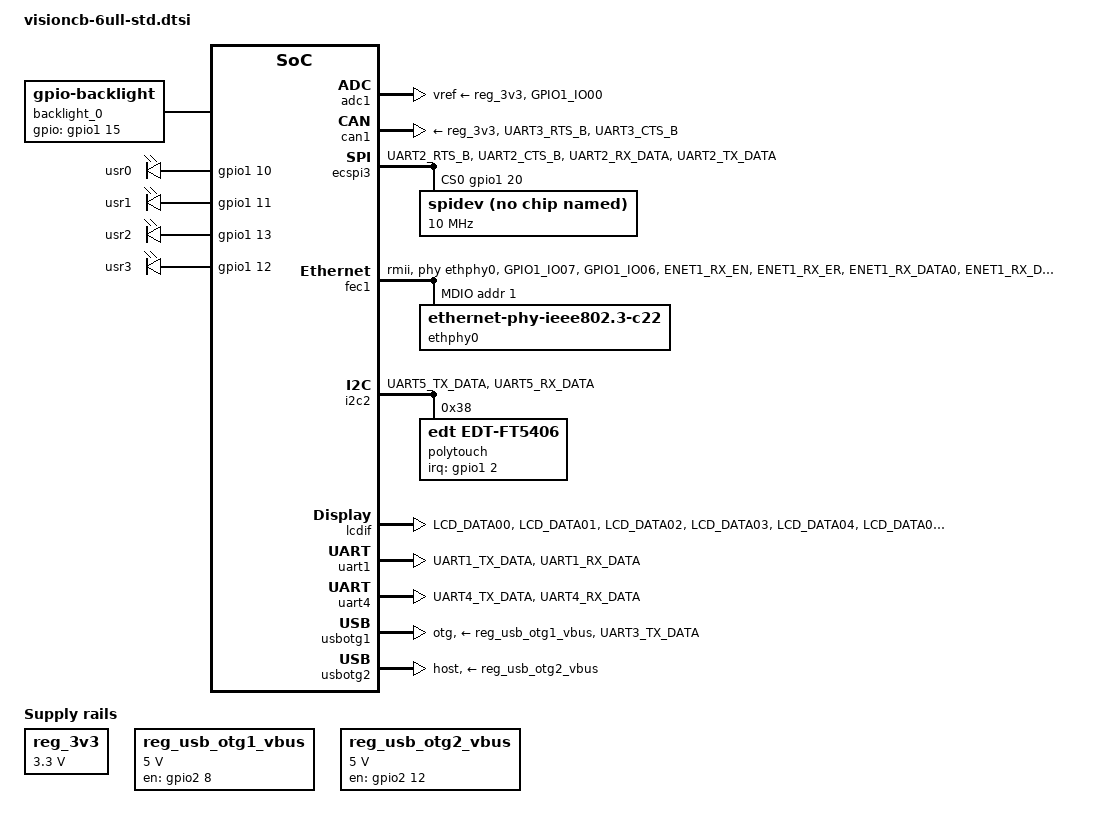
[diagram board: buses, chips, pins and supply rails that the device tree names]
/*
 * Copyright (C) 2020 SoMLabs
 *
 * This program is free software; you can redistribute it and/or modify
 * it under the terms of the GNU General Public License version 2 as
 * published by the Free Software Foundation.
 */


/ {
        backlight_0: backlight {
                compatible = "gpio-backlight";
                gpios = <&gpio1 15 GPIO_ACTIVE_HIGH>;
        };

        chosen {
                stdout-path = &uart1;
        };

        leds {
                compatible = "gpio-leds";

                usr0 {
                        label = "usr0";
                        gpios = <&gpio1 10 GPIO_ACTIVE_HIGH>;
                        linux,default-trigger = "heartbeat";
                };

                usr1 {
                        label = "usr1";
                        gpios = <&gpio1 11 GPIO_ACTIVE_HIGH>;
                        linux,default-trigger = "mmc0";
                };

                usr2 {
                        label = "usr2";
                        gpios = <&gpio1 13 GPIO_ACTIVE_HIGH>;
                        linux,default-trigger = "mmc1";
                };

                usr3 {
                        label = "usr3";
                        gpios = <&gpio1 12 GPIO_ACTIVE_HIGH>;
                };
        };

        regulators {
                reg_3v3: regulator@3 {
                        compatible = "regulator-fixed";
                        regulator-name = "3v3";
                        regulator-min-microvolt = <3300000>;
                        regulator-max-microvolt = <3300000>;
                };

                reg_usb_otg1_vbus: regulator@1 {
                        compatible = "regulator-fixed";
                        reg = <2>;
                        pinctrl-names = "default";
                        pinctrl-0 = <&pinctrl_usb_otg1>;
                        regulator-name = "usb_otg1_vbus";
                        regulator-min-microvolt = <5000000>;
                        regulator-max-microvolt = <5000000>;
                        gpio = <&gpio2 8 GPIO_ACTIVE_HIGH>;
                        enable-active-high;
                };

                reg_usb_otg2_vbus: regulator@2 {
                        compatible = "regulator-fixed";
                        reg = <3>;
                        pinctrl-names = "default";
                        pinctrl-0 = <&pinctrl_usb_otg2>;
                        regulator-name = "usb_otg2_vbus";
                        regulator-min-microvolt = <5000000>;
                        regulator-max-microvolt = <5000000>;
                        gpio = <&gpio2 12 GPIO_ACTIVE_HIGH>;
                        enable-active-high;
                };
        };
};

&adc1 {
        pinctrl-names = "default";
        pinctrl-0 = <&pinctrl_adc1>;
        vref-supply = <&reg_3v3>;
        status = "okay";
};

&can1 {
        pinctrl-names = "default";
        pinctrl-0 = <&pinctrl_flexcan1>;
        xceiver-supply = <&reg_3v3>;
        status = "okay";
};

&ecspi3 {
        fsl,spi-num-chipselects = <1>;
        cs-gpios = <&gpio1 20 0>;
        pinctrl-names = "default";
        pinctrl-0 = <&pinctrl_ecspi3>;
        status = "okay";

        spidev@0 {
                compatible = "spidev";
                spi-max-frequency = <10000000>;
                reg = <0>;
        };
};

&fec1 {
        pinctrl-names = "default";
        pinctrl-0 = <&pinctrl_enet1>;
        phy-mode = "rmii";
        phy-handle = <&ethphy0>;
        status = "okay";

        mdio {
                #address-cells = <1>;
                #size-cells = <0>;

                ethphy0: ethernet-phy@1 {
                        compatible = "ethernet-phy-ieee802.3-c22";
                        reg = <1>;
                        clocks = <&clks IMX6UL_CLK_ENET_REF>;
                        clock-names = "rmii-ref";
                };
        };
};

&i2c2 {
        clock_frequency = <100000>;
        pinctrl-names = "default";
        pinctrl-0 = <&pinctrl_i2c2>;
        status = "okay";

        polytouch: edt-ft5406@38 {
                        status = "okay";
                        compatible = "edt,edt-ft5406", "edt,edt-ft5x06";
                        pinctrl-names = "default";
                        pinctrl-0 = <&pinctrl_edt_ft5406_ts>;

                        reg = <0x38>;
                        interrupt-parent = <&gpio1>;
                        interrupts = <2 IRQ_TYPE_EDGE_FALLING>;
                        touchscreen-size-x = <800>;
                        touchscreen-size-y = <480>;
                        touchscreen-inverted-x;
                        touchscreen-inverted-y;
        };
};

&iomuxc {
        pinctrl-0 = <&pinctrl_hog_1>;
        visioncb-6ull {
                pinctrl_adc1: adc1grp {
                        fsl,pins = <
                                MX6UL_PAD_GPIO1_IO00__GPIO1_IO00        0xb0
                        >;
                };

                pinctrl_ecspi3: ecspi3grp {
                        fsl,pins = <
                                MX6UL_PAD_UART2_RTS_B__ECSPI3_MISO      0x1b0b1
                                MX6UL_PAD_UART2_CTS_B__ECSPI3_MOSI      0x1b0b1
                                MX6UL_PAD_UART2_RX_DATA__ECSPI3_SCLK    0x1b0b1
                                MX6UL_PAD_UART2_TX_DATA__GPIO1_IO20     0x1b0b0
                        >;
                };

                pinctrl_edt_ft5406_ts: edtft5406tsgrp {
                        fsl,pins = <
                                MX6UL_PAD_GPIO1_IO02__GPIO1_IO02        0x1b0b0
                        >;
                };

                pinctrl_enet1: enet1grp {
                        fsl,pins = <
                                MX6UL_PAD_GPIO1_IO07__ENET1_MDC         0x1b0b0
                                MX6UL_PAD_GPIO1_IO06__ENET1_MDIO        0x1F829

                                MX6UL_PAD_ENET1_RX_EN__ENET1_RX_EN      0x1b0b0
                                MX6UL_PAD_ENET1_RX_ER__ENET1_RX_ER      0x1b0b0
                                MX6UL_PAD_ENET1_RX_DATA0__ENET1_RDATA00 0x1b0b0
                                MX6UL_PAD_ENET1_RX_DATA1__ENET1_RDATA01 0x1b0b0
                                MX6UL_PAD_ENET1_TX_EN__ENET1_TX_EN      0x1b0b0
                                MX6UL_PAD_ENET1_TX_DATA0__ENET1_TDATA00 0x1b0b0
                                MX6UL_PAD_ENET1_TX_DATA1__ENET1_TDATA01 0x1b0b0
                                MX6UL_PAD_ENET1_TX_CLK__ENET1_REF_CLK1  0x400010a9
                        >;
                };

                pinctrl_flexcan1: flexcan1grp{
                        fsl,pins = <
                                MX6UL_PAD_UART3_RTS_B__FLEXCAN1_RX      0x1b020
                                MX6UL_PAD_UART3_CTS_B__FLEXCAN1_TX      0x1b020
                        >;
                };

                pinctrl_hog_1: hoggrp-1 {
                        fsl,pins = <
                                MX6UL_PAD_JTAG_MOD__GPIO1_IO10 0x17099 /* LED 0 */
                                MX6UL_PAD_JTAG_TMS__GPIO1_IO11 0x17099 /* LED 1 */
                                MX6UL_PAD_JTAG_TDI__GPIO1_IO13 0x17099 /* LED 2 */
                                MX6UL_PAD_JTAG_TDO__GPIO1_IO12 0x17099 /* LED 3 */
                        >;
                };

                pinctrl_i2c2: i2c2grp {
                        fsl,pins = <
                                MX6UL_PAD_UART5_TX_DATA__I2C2_SCL 0x4001b8b0
                                MX6UL_PAD_UART5_RX_DATA__I2C2_SDA 0x4001b8b0
                        >;
                };

                pinctrl_lcdif_ctrl: lcdifctrlgrp {
                        fsl,pins = <
                                MX6UL_PAD_LCD_CLK__LCDIF_CLK        0x79
                                MX6UL_PAD_LCD_ENABLE__LCDIF_ENABLE  0x79
                                MX6UL_PAD_LCD_HSYNC__LCDIF_HSYNC    0x79
                                MX6UL_PAD_LCD_VSYNC__LCDIF_VSYNC    0x79
                                MX6UL_PAD_LCD_RESET__GPIO3_IO04     0xB079
                        >;
                };

                pinctrl_lcdif_dat: lcdifdatgrp {
                        fsl,pins = <
                                MX6UL_PAD_LCD_DATA00__LCDIF_DATA00  0x79
                                MX6UL_PAD_LCD_DATA01__LCDIF_DATA01  0x79
                                MX6UL_PAD_LCD_DATA02__LCDIF_DATA02  0x79
                                MX6UL_PAD_LCD_DATA03__LCDIF_DATA03  0x79
                                MX6UL_PAD_LCD_DATA04__LCDIF_DATA04  0x79
                                MX6UL_PAD_LCD_DATA05__LCDIF_DATA05  0x79
                                MX6UL_PAD_LCD_DATA06__LCDIF_DATA06  0x79
                                MX6UL_PAD_LCD_DATA07__LCDIF_DATA07  0x79
                                MX6UL_PAD_LCD_DATA08__LCDIF_DATA08  0x79
                                MX6UL_PAD_LCD_DATA09__LCDIF_DATA09  0x79
                                MX6UL_PAD_LCD_DATA10__LCDIF_DATA10  0x79
                                MX6UL_PAD_LCD_DATA11__LCDIF_DATA11  0x79
                                MX6UL_PAD_LCD_DATA12__LCDIF_DATA12  0x79
                                MX6UL_PAD_LCD_DATA13__LCDIF_DATA13  0x79
                                MX6UL_PAD_LCD_DATA14__LCDIF_DATA14  0x79
                                MX6UL_PAD_LCD_DATA15__LCDIF_DATA15  0x79
                                MX6UL_PAD_LCD_DATA16__LCDIF_DATA16  0x79
                                MX6UL_PAD_LCD_DATA17__LCDIF_DATA17  0x79
                                MX6UL_PAD_LCD_DATA18__LCDIF_DATA18  0x79
                                MX6UL_PAD_LCD_DATA19__LCDIF_DATA19  0x79
                                MX6UL_PAD_LCD_DATA20__LCDIF_DATA20  0x79
                                MX6UL_PAD_LCD_DATA21__LCDIF_DATA21  0x79
                                MX6UL_PAD_LCD_DATA22__LCDIF_DATA22  0x79
                                MX6UL_PAD_LCD_DATA23__LCDIF_DATA23  0x79
                        >;
                };

                pinctrl_uart1: uart1grp {
                        fsl,pins = <
                                MX6UL_PAD_UART1_TX_DATA__UART1_DCE_TX 0x1b0b1
                                MX6UL_PAD_UART1_RX_DATA__UART1_DCE_RX 0x1b0b1
                        >;
                };

                pinctrl_uart4: uart4grp {
                        fsl,pins = <
                                MX6UL_PAD_UART4_TX_DATA__UART4_DCE_TX 0x1b0b1
                                MX6UL_PAD_UART4_RX_DATA__UART4_DCE_RX 0x1b0b1
                        >;
                };

                pinctrl_usb_otg1: usbotg1grp {
                        fsl,pins = <
                                MX6UL_PAD_ENET2_RX_DATA0__GPIO2_IO08    0x10b0
                        >;
                };

                pinctrl_usb_otg1_id: usbotg1idgrp {
                        fsl,pins = <
                                MX6UL_PAD_UART3_TX_DATA__GPIO1_IO24
                        >;
                };

                pinctrl_usb_otg2: usbotg2grp {
                        fsl,pins = <
                                MX6UL_PAD_ENET2_TX_DATA1__GPIO2_IO12    0x10b0
                        >;
                };
        };
};

&lcdif {
        pinctrl-names = "default";
        pinctrl-0 = <&pinctrl_lcdif_dat
                     &pinctrl_lcdif_ctrl>;
        display = <&display0>;
        backlight = <&backlight_0>;
        status = "okay";

        display0: display {
                bits-per-pixel = <16>;
                bus-width = <24>;

                display-timings {
                        native-mode = <&timing0>;
                        timing0: timing0 {
                                clock-frequency = <33300000>;
                                hactive = <800>;
                                vactive = <480>;
                                hfront-porch = <210>;
                                hback-porch = <46>;
                                hsync-len = <20>;
                                vback-porch = <23>;
                                vfront-porch = <22>;
                                vsync-len = <10>;

                                hsync-active = <0>;
                                vsync-active = <0>;
                                de-active = <1>;
                                pixelclk-active = <0>;
                        };
                };
        };
};

&uart1 {
        pinctrl-names = "default";
        pinctrl-0 = <&pinctrl_uart1>;
        status = "okay";
};

&uart4 {
        pinctrl-names = "default";
        pinctrl-0 = <&pinctrl_uart4>;
        status = "okay";
};

&usbotg1 {
        vbus-supply = <&reg_usb_otg1_vbus>;
        pinctrl-names = "default";
        pinctrl-0 = <&pinctrl_usb_otg1_id>;
        dr_mode = "otg";
        status = "okay";
};

&usbotg2 {
        vbus-supply = <&reg_usb_otg2_vbus>;
        pinctrl-names = "default";
        dr_mode = "host";
        status = "okay";
};

&usbphy1 {
        tx-d-cal = <0x5>;
};

&usbphy2 {
        tx-d-cal = <0x5>;
};

